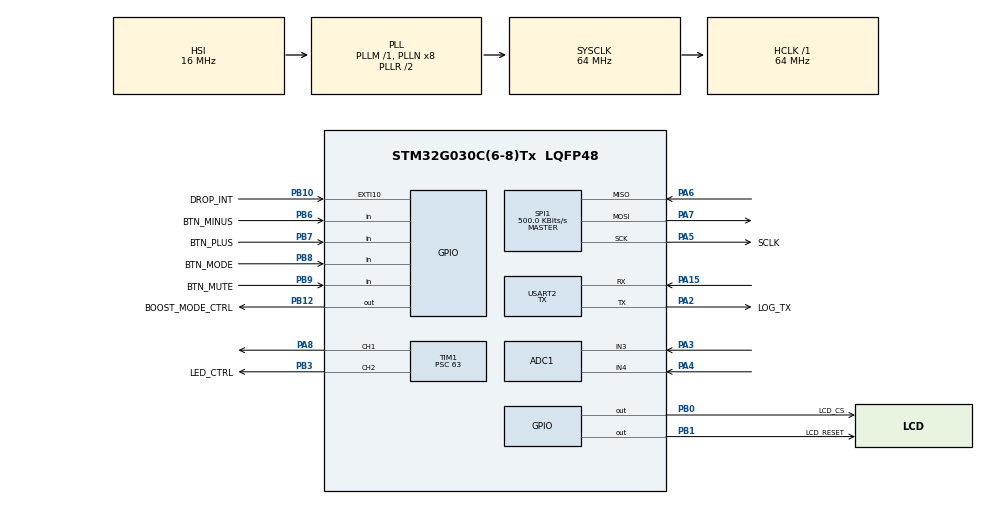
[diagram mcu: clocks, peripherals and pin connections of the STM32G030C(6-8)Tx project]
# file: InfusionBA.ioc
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ADC1.Channel-0\#ChannelRegularConversion=ADC_CHANNEL_4
ADC1.NbrOfConversionFlag=1
ADC1.Rank-0\#ChannelRegularConversion=1
ADC1.SamplingTime-0\#ChannelRegularConversion=ADC_SAMPLINGTIME_COMMON_1
ADC1.SelectedChannel=ADC_CHANNEL_3|ADC_CHANNEL_4
ADC1.master=1
Mcu.Family=STM32G0
Mcu.Name=STM32G030C(6-8)Tx
Mcu.Package=LQFP48
PA13.Mode=Serial_Wire
PA13.Signal=SYS_SWDIO
PA14-BOOT0.Mode=Serial_Wire
PA14-BOOT0.Signal=SYS_SWCLK
PA15.Mode=Asynchronous
PA15.Signal=USART2_RX
PA2.GPIO_Label=LOG_TX
PA2.GPIO_Speed=GPIO_SPEED_FREQ_VERY_HIGH
PA2.Mode=Asynchronous
PA2.Signal=USART2_TX
PA3.Mode=IN3
PA3.Signal=ADC1_IN3
PA4.Mode=IN4
PA4.Signal=ADC1_IN4
PA5.GPIO_Label=SCLK
PA5.GPIO_Speed=GPIO_SPEED_FREQ_HIGH
PA5.Mode=Full_Duplex_Master
PA5.Signal=SPI1_SCK
PA6.GPIO_Speed=GPIO_SPEED_FREQ_HIGH
PA6.Mode=Full_Duplex_Master
PA6.Signal=SPI1_MISO
PA7.GPIO_Speed=GPIO_SPEED_FREQ_HIGH
PA7.Mode=Full_Duplex_Master
PA7.Signal=SPI1_MOSI
PA8.Signal=S_TIM1_CH1
PB0.GPIO_Label=LCD_CS
PB0.PinState=GPIO_PIN_SET
PB0.Signal=GPIO_Output
PB1.GPIO_Label=LCD_RESET
PB1.PinState=GPIO_PIN_SET
PB1.Signal=GPIO_Output
PB10.GPIO_Label=DROP_INT
PB10.GPIO_ModeDefaultEXTI=GPIO_MODE_IT_FALLING
PB10.Signal=GPXTI10
PB12.GPIO_Label=BOOST_MODE_CTRL
PB12.GPIO_Speed=GPIO_SPEED_FREQ_MEDIUM
PB12.PinState=GPIO_PIN_SET
PB12.Signal=GPIO_Output
PB3.GPIO_Label=LED_CTRL
PB3.Signal=S_TIM1_CH2
PB6.GPIO_Label=BTN_MINUS
PB6.GPIO_PuPd=GPIO_PULLUP
PB6.Signal=GPIO_Input
PB7.GPIO_Label=BTN_PLUS
PB7.GPIO_PuPd=GPIO_PULLUP
PB7.Signal=GPIO_Input
PB8.GPIO_Label=BTN_MODE
PB8.GPIO_PuPd=GPIO_PULLUP
PB8.Signal=GPIO_Input
PB9.GPIO_Label=BTN_MUTE
PB9.GPIO_PuPd=GPIO_PULLUP
PB9.Signal=GPIO_Input
PC14-OSC32_IN\ (PC14).GPIO_Label=OSC32_IN
PC14-OSC32_IN\ (PC14).Mode=LSE-External-Oscillator
PC14-OSC32_IN\ (PC14).Signal=RCC_OSC32_IN
PC15-OSC32_OUT\ (PC15).GPIO_Label=OSC32_OUT
PC15-OSC32_OUT\ (PC15).Mode=LSE-External-Oscillator
PC15-OSC32_OUT\ (PC15).Signal=RCC_OSC32_OUT
ProjectManager.HeapSize=0x200
ProjectManager.StackSize=0x400
ProjectManager.TargetToolchain=STM32CubeIDE
RCC.ADCFreq_Value=64000000
RCC.AHBFreq_Value=64000000
RCC.CortexFreq_Value=64000000
RCC.EXTERNAL_CLOCK_VALUE=12288000
RCC.HCLKFreq_Value=64000000
RCC.HSE_VALUE=8000000
RCC.HSI_VALUE=16000000
RCC.SYSCLKFreq_VALUE=64000000
RCC.SYSCLKSource=RCC_SYSCLKSOURCE_PLLCLK
RCC.VCOOutputFreq_Value=128000000
SH.S_TIM1_CH1.0=TIM1_CH1,PWM Generation1 CH1
SH.S_TIM1_CH2.0=TIM1_CH2,PWM Generation2 CH2
SPI1.BaudRatePrescaler=SPI_BAUDRATEPRESCALER_128
SPI1.CLKPhase=SPI_PHASE_2EDGE
SPI1.CLKPolarity=SPI_POLARITY_HIGH
SPI1.CalculateBaudRate=500.0 KBits/s
SPI1.Direction=SPI_DIRECTION_2LINES
SPI1.FirstBit=SPI_FIRSTBIT_MSB
SPI1.Mode=SPI_MODE_MASTER
SPI1.VirtualType=VM_MASTER
TIM1.AutoReloadPreload=TIM_AUTORELOAD_PRELOAD_ENABLE
TIM1.Channel-PWM\ Generation1\ CH1=TIM_CHANNEL_1
TIM1.Channel-PWM\ Generation2\ CH2=TIM_CHANNEL_2
TIM1.Period=31
TIM1.Prescaler=63
TIM1.Pulse-PWM\ Generation1\ CH1=0
USART2.DMADisableonRxErrorParam=ADVFEATURE_DMA_DISABLEONRXERROR
USART2.Mode=MODE_TX
USART2.OverrunDisableParam=ADVFEATURE_OVERRUN_DISABLE
USART2.VirtualMode-Asynchronous=VM_ASYNC
VP_RTC_VS_RTC_Activate.Mode=RTC_Enabled
board=custom

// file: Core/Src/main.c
/* USER CODE BEGIN Header */
/**
  ******************************************************************************
  * @file           : main.c
  * @brief          : Main program body
  ******************************************************************************
  * @attention
  *
  * Copyright (c) 2025 STMicroelectronics.
  * All rights reserved.
  *
  * This software is licensed under terms that can be found in the LICENSE file
  * in the root directory of this software component.
  * If no LICENSE file comes with this software, it is provided AS-IS.
  *
  ******************************************************************************
  */
/* USER CODE END Header */
#include "main.h"

/* USER CODE BEGIN Includes */
#include <stdio.h>
#include <string.h>
#include <stddef.h>       // for size_t
#include <stdint.h>
#include "lcd.h"
#include "buzzer.h"
#include "ui.h"
#include "alarm.h"

/* USER CODE END Includes */

/* USER CODE BEGIN PD */
#define VREFINT_CAL (*(uint16_t*)0x1FFF75AA)  // Factory-calibrated ADC value for VREFINT at 3.0 V
#define VREFINT_MV 3000  // Calibration is done at 3.00 V

/* USER CODE END PD */

ADC_HandleTypeDef hadc1;

RTC_HandleTypeDef hrtc;

SPI_HandleTypeDef hspi1;

TIM_HandleTypeDef htim1;

UART_HandleTypeDef huart2;

/* USER CODE BEGIN PV */
#define DRIP_FACTOR_GTT_PER_ML   20      // 20 gtt ≈ 1 mL -- change for your set
#define FLOW_AVG_WINDOW          5      // keep last 30 drops for moving-avg

volatile uint32_t drop_count           = 0;          // running tally
volatile uint32_t last_drop_ms         = 0;          // HAL_GetTick timestamp
volatile uint32_t dt_ms                = 0;          // time between last 2 drops
volatile float    inst_flow_mlh        = 0.0f;       // mL/h from single dt
volatile float    flow_window[FLOW_AVG_WINDOW] = {0};
volatile uint8_t  flow_idx             = 0;          // circular buffer index
volatile float    flow_avg_mlh         = 0.0f;       // moving average flow
volatile float    total_volume_ml      = 0.0f;       // drops ÷ drip-factor
volatile uint16_t target_rate_mlh = 100; // Default: 100 mL/h
volatile float    flow_mlh            = 0.0f;       // current flow in mL/h

/* USER CODE END PV */

void SystemClock_Config(void);
static void MX_GPIO_Init(void);
static void MX_ADC1_Init(void);
static void MX_RTC_Init(void);
static void MX_TIM1_Init(void);
static void MX_USART2_UART_Init(void);
static void MX_SPI1_Init(void);
/* USER CODE BEGIN PFP */
uint32_t  Read_Battery_mV(void);
uint32_t Read_VDDA_mV(void);
uint8_t Battery_mV_to_percent(uint32_t mv);

void Monitor_ADC_Drop_Spikes();
void HandleModeButton(void);
void HandleTargetAdjustment(void);
void HandleMuteButton(void);

/* USER CODE END PFP */

/* USER CODE BEGIN 0 */

static float MovingAvg_Add(float new_val)
{
    flow_window[flow_idx] = new_val;
    flow_idx = (flow_idx + 1) % FLOW_AVG_WINDOW;

    /* Re-compute running mean (cheap for only 30 samples) */
    float sum = 0.0f;
    for (uint8_t i = 0; i < FLOW_AVG_WINDOW; ++i) sum += flow_window[i];
    return sum / FLOW_AVG_WINDOW;
}

/* USER CODE END 0 */

int main(void)
{

  /* MCU Configuration--------------------------------------------------------*/

  /* Reset of all peripherals, Initializes the Flash interface and the Systick. */
  HAL_Init();

  /* Configure the system clock */
  SystemClock_Config();

  /* Initialize all configured peripherals */
  MX_GPIO_Init();
  MX_ADC1_Init();
  MX_RTC_Init();
  MX_TIM1_Init();
  MX_USART2_UART_Init();
  MX_SPI1_Init();
  /* USER CODE BEGIN 2 */
  setvbuf(stdout, NULL, _IONBF, 0);
  // After MX_TIM1_Init()
  HAL_TIM_PWM_Start(&htim1, TIM_CHANNEL_1);
  HAL_GPIO_WritePin(GPIOB, GPIO_PIN_12, GPIO_PIN_SET); //Boost Mode ON
  HAL_GPIO_WritePin(GPIOB, GPIO_PIN_3, GPIO_PIN_SET);  // drive gate high → IR LED on

   //Startup Sweep
   for (int freq = 3000; freq <= 4000; freq += 500) {
       Buzzer_PlayFreq(freq, 30);
       HAL_Delay(20);
   }

   printf("BEGIN LCD INITIALIZATION\r\n");
   LCD_Init();
   printf("FINISHED LCD INITIALIZATION\r\n");

   LCD_Clear();
   LCD_SplashScreen();
   HAL_Delay(1500);
   LCD_Clear();

/*
   for (uint16_t cmd = 0x00; cmd <= 0xFF; cmd++)
   	  {
   		  printf("Sending command: 0x%02X\r\n", cmd);
   		  LCD_WriteCmd((uint8_t)cmd);
   		  HAL_Delay(1);
   	  }*/

  /* USER CODE END 2 */

  /* Infinite loop */
  /* USER CODE BEGIN WHILE */
  while (1)
  {
          HandleTargetAdjustment();
          HandleModeButton();
          HandleMuteButton();
          ui_task();
          alarm_task();
          Monitor_ADC_Drop_Spikes();

    /* USER CODE END WHILE */

  }
}

void SystemClock_Config(void)
{
  RCC_OscInitTypeDef RCC_OscInitStruct = {0};
  RCC_ClkInitTypeDef RCC_ClkInitStruct = {0};
  RCC_PeriphCLKInitTypeDef PeriphClkInit = {0};

  /** Configure the main internal regulator output voltage
  */
  __HAL_RCC_PWR_CLK_ENABLE();
  HAL_PWREx_ControlVoltageScaling(PWR_REGULATOR_VOLTAGE_SCALE1);
  HAL_PWR_EnableBkUpAccess();
  __HAL_RCC_LSEDRIVE_CONFIG(RCC_LSEDRIVE_LOW);

  /** Initializes the RCC Oscillators according to the specified parameters
  * in the RCC_OscInitTypeDef structure.
*/
  RCC_OscInitStruct.OscillatorType = RCC_OSCILLATORTYPE_HSI|RCC_OSCILLATORTYPE_LSI;
  RCC_OscInitStruct.HSIState = RCC_HSI_ON;
  RCC_OscInitStruct.HSIDiv = RCC_HSI_DIV1;
  RCC_OscInitStruct.HSICalibrationValue = RCC_HSICALIBRATION_DEFAULT;
  RCC_OscInitStruct.LSIState = RCC_LSI_ON;
  RCC_OscInitStruct.PLL.PLLState = RCC_PLL_ON;
  RCC_OscInitStruct.PLL.PLLSource = RCC_PLLSOURCE_HSI;
  RCC_OscInitStruct.PLL.PLLM = RCC_PLLM_DIV1;
  RCC_OscInitStruct.PLL.PLLN = 8;
  RCC_OscInitStruct.PLL.PLLP = RCC_PLLP_DIV2;
  RCC_OscInitStruct.PLL.PLLR = RCC_PLLR_DIV2;
  if (HAL_RCC_OscConfig(&RCC_OscInitStruct) != HAL_OK)
  {
    Error_Handler();
  }

  /** Configure RTC clock source */
  PeriphClkInit.PeriphClockSelection = RCC_PERIPHCLK_RTC;
  PeriphClkInit.RTCClockSelection = RCC_RTCCLKSOURCE_LSE;
  if (HAL_RCCEx_PeriphCLKConfig(&PeriphClkInit) != HAL_OK)
  {
    Error_Handler();
  }

  /** Initializes the CPU, AHB and APB buses clocks
  */
  RCC_ClkInitStruct.ClockType = RCC_CLOCKTYPE_HCLK|RCC_CLOCKTYPE_SYSCLK
                              |RCC_CLOCKTYPE_PCLK1;
  RCC_ClkInitStruct.SYSCLKSource = RCC_SYSCLKSOURCE_PLLCLK;
  RCC_ClkInitStruct.AHBCLKDivider = RCC_SYSCLK_DIV1;
  RCC_ClkInitStruct.APB1CLKDivider = RCC_HCLK_DIV1;

  if (HAL_RCC_ClockConfig(&RCC_ClkInitStruct, FLASH_LATENCY_2) != HAL_OK)
  {
    Error_Handler();
  }
}

static void MX_ADC1_Init(void)
{

  ADC_ChannelConfTypeDef sConfig = {0};

  /** Configure the global features of the ADC (Clock, Resolution, Data Alignment and number of conversion)
  */
  hadc1.Instance = ADC1;
  hadc1.Init.ClockPrescaler = ADC_CLOCK_SYNC_PCLK_DIV2;
  hadc1.Init.Resolution = ADC_RESOLUTION_12B;
  hadc1.Init.DataAlign = ADC_DATAALIGN_RIGHT;
  hadc1.Init.ScanConvMode = ADC_SCAN_DISABLE;
  hadc1.Init.EOCSelection = ADC_EOC_SINGLE_CONV;
  hadc1.Init.LowPowerAutoWait = DISABLE;
  hadc1.Init.LowPowerAutoPowerOff = DISABLE;
  hadc1.Init.ContinuousConvMode = DISABLE;
  hadc1.Init.NbrOfConversion = 1;
  hadc1.Init.DiscontinuousConvMode = DISABLE;
  hadc1.Init.ExternalTrigConv = ADC_SOFTWARE_START;
  hadc1.Init.ExternalTrigConvEdge = ADC_EXTERNALTRIGCONVEDGE_NONE;
  hadc1.Init.DMAContinuousRequests = DISABLE;
  hadc1.Init.Overrun = ADC_OVR_DATA_PRESERVED;
  hadc1.Init.SamplingTimeCommon1 = ADC_SAMPLETIME_1CYCLE_5;
  hadc1.Init.SamplingTimeCommon2 = ADC_SAMPLETIME_1CYCLE_5;
  hadc1.Init.OversamplingMode = DISABLE;
  hadc1.Init.TriggerFrequencyMode = ADC_TRIGGER_FREQ_HIGH;
  if (HAL_ADC_Init(&hadc1) != HAL_OK)
  {
    Error_Handler();
  }

  /** Configure Regular Channel
  */
  sConfig.Channel = ADC_CHANNEL_4;
  sConfig.Rank = ADC_REGULAR_RANK_1;
  sConfig.SamplingTime = ADC_SAMPLINGTIME_COMMON_1;
  if (HAL_ADC_ConfigChannel(&hadc1, &sConfig) != HAL_OK)
  {
    Error_Handler();
  }

}

static void MX_RTC_Init(void)
{

  /** Initialize RTC Only
  */
  hrtc.Instance = RTC;
  hrtc.Init.HourFormat = RTC_HOURFORMAT_24;
  hrtc.Init.AsynchPrediv = 127;
  hrtc.Init.SynchPrediv = 255;
  hrtc.Init.OutPut = RTC_OUTPUT_DISABLE;
  hrtc.Init.OutPutRemap = RTC_OUTPUT_REMAP_NONE;
  hrtc.Init.OutPutPolarity = RTC_OUTPUT_POLARITY_HIGH;
  hrtc.Init.OutPutType = RTC_OUTPUT_TYPE_OPENDRAIN;
  hrtc.Init.OutPutPullUp = RTC_OUTPUT_PULLUP_NONE;
  if (HAL_RTC_Init(&hrtc) != HAL_OK)
  {
    Error_Handler();
  }

}

static void MX_SPI1_Init(void)
{

  /* SPI1 parameter configuration*/
  hspi1.Instance = SPI1;
  hspi1.Init.Mode = SPI_MODE_MASTER;
  hspi1.Init.Direction = SPI_DIRECTION_2LINES;
  hspi1.Init.DataSize = SPI_DATASIZE_8BIT;
  hspi1.Init.CLKPolarity = SPI_POLARITY_HIGH;
  hspi1.Init.CLKPhase = SPI_PHASE_2EDGE;
  hspi1.Init.NSS = SPI_NSS_SOFT;
  hspi1.Init.BaudRatePrescaler = SPI_BAUDRATEPRESCALER_128;
  hspi1.Init.FirstBit = SPI_FIRSTBIT_MSB;
  hspi1.Init.TIMode = SPI_TIMODE_DISABLE;
  hspi1.Init.CRCCalculation = SPI_CRCCALCULATION_DISABLE;
  hspi1.Init.CRCPolynomial = 7;
  hspi1.Init.CRCLength = SPI_CRC_LENGTH_DATASIZE;
  hspi1.Init.NSSPMode = SPI_NSS_PULSE_DISABLE;
  if (HAL_SPI_Init(&hspi1) != HAL_OK)
  {
    Error_Handler();
  }

}

static void MX_TIM1_Init(void)
{

  TIM_MasterConfigTypeDef sMasterConfig = {0};
  TIM_OC_InitTypeDef sConfigOC = {0};
  TIM_BreakDeadTimeConfigTypeDef sBreakDeadTimeConfig = {0};

  htim1.Instance = TIM1;
  htim1.Init.Prescaler = 63;
  htim1.Init.CounterMode = TIM_COUNTERMODE_UP;
  htim1.Init.Period = 31;
  htim1.Init.ClockDivision = TIM_CLOCKDIVISION_DIV1;
  htim1.Init.RepetitionCounter = 0;
  htim1.Init.AutoReloadPreload = TIM_AUTORELOAD_PRELOAD_ENABLE;
  if (HAL_TIM_PWM_Init(&htim1) != HAL_OK)
  {
    Error_Handler();
  }
  sMasterConfig.MasterOutputTrigger = TIM_TRGO_RESET;
  sMasterConfig.MasterOutputTrigger2 = TIM_TRGO2_RESET;
  sMasterConfig.MasterSlaveMode = TIM_MASTERSLAVEMODE_DISABLE;
  if (HAL_TIMEx_MasterConfigSynchronization(&htim1, &sMasterConfig) != HAL_OK)
  {
    Error_Handler();
  }
  sConfigOC.OCMode = TIM_OCMODE_PWM1;
  sConfigOC.Pulse = 0;
  sConfigOC.OCPolarity = TIM_OCPOLARITY_HIGH;
  sConfigOC.OCNPolarity = TIM_OCNPOLARITY_HIGH;
  sConfigOC.OCFastMode = TIM_OCFAST_DISABLE;
  sConfigOC.OCIdleState = TIM_OCIDLESTATE_RESET;
  sConfigOC.OCNIdleState = TIM_OCNIDLESTATE_RESET;
  if (HAL_TIM_PWM_ConfigChannel(&htim1, &sConfigOC, TIM_CHANNEL_1) != HAL_OK)
  {
    Error_Handler();
  }
  if (HAL_TIM_PWM_ConfigChannel(&htim1, &sConfigOC, TIM_CHANNEL_2) != HAL_OK)
  {
    Error_Handler();
  }
  sBreakDeadTimeConfig.OffStateRunMode = TIM_OSSR_DISABLE;
  sBreakDeadTimeConfig.OffStateIDLEMode = TIM_OSSI_DISABLE;
  sBreakDeadTimeConfig.LockLevel = TIM_LOCKLEVEL_OFF;
  sBreakDeadTimeConfig.DeadTime = 0;
  sBreakDeadTimeConfig.BreakState = TIM_BREAK_DISABLE;
  sBreakDeadTimeConfig.BreakPolarity = TIM_BREAKPOLARITY_HIGH;
  sBreakDeadTimeConfig.BreakFilter = 0;
  sBreakDeadTimeConfig.BreakAFMode = TIM_BREAK_AFMODE_INPUT;
  sBreakDeadTimeConfig.Break2State = TIM_BREAK2_DISABLE;
  sBreakDeadTimeConfig.Break2Polarity = TIM_BREAK2POLARITY_HIGH;
  sBreakDeadTimeConfig.Break2Filter = 0;
  sBreakDeadTimeConfig.Break2AFMode = TIM_BREAK_AFMODE_INPUT;
  sBreakDeadTimeConfig.AutomaticOutput = TIM_AUTOMATICOUTPUT_DISABLE;
  if (HAL_TIMEx_ConfigBreakDeadTime(&htim1, &sBreakDeadTimeConfig) != HAL_OK)
  {
    Error_Handler();
  }
  HAL_TIM_MspPostInit(&htim1);

}

static void MX_USART2_UART_Init(void)
{

  huart2.Instance = USART2;
  huart2.Init.BaudRate = 115200;
  huart2.Init.WordLength = UART_WORDLENGTH_8B;
  huart2.Init.StopBits = UART_STOPBITS_1;
  huart2.Init.Parity = UART_PARITY_NONE;
  huart2.Init.Mode = UART_MODE_TX;
  huart2.Init.HwFlowCtl = UART_HWCONTROL_NONE;
  huart2.Init.OverSampling = UART_OVERSAMPLING_16;
  huart2.Init.OneBitSampling = UART_ONE_BIT_SAMPLE_DISABLE;
  huart2.Init.ClockPrescaler = UART_PRESCALER_DIV1;
  huart2.AdvancedInit.AdvFeatureInit = UART_ADVFEATURE_RXOVERRUNDISABLE_INIT|UART_ADVFEATURE_DMADISABLEONERROR_INIT;
  huart2.AdvancedInit.OverrunDisable = UART_ADVFEATURE_OVERRUN_DISABLE;
  huart2.AdvancedInit.DMADisableonRxError = UART_ADVFEATURE_DMA_DISABLEONRXERROR;
  if (HAL_UART_Init(&huart2) != HAL_OK)
  {
    Error_Handler();
  }

}

static void MX_GPIO_Init(void)
{
  GPIO_InitTypeDef GPIO_InitStruct = {0};
  /* USER CODE BEGIN MX_GPIO_Init_1 */
  /* --- DOGS164 control lines: PB0 = /CS, PB1 = /RST, PB14 = A0 --- */
  GPIO_InitStruct.Pin   = LCD_CS_Pin | LCD_RESET_Pin | GPIO_PIN_14;
  GPIO_InitStruct.Mode  = GPIO_MODE_OUTPUT_PP;
  GPIO_InitStruct.Pull  = GPIO_NOPULL;
  GPIO_InitStruct.Speed = GPIO_SPEED_FREQ_LOW;
  HAL_GPIO_Init(GPIOB, &GPIO_InitStruct);

  /* Initial idle levels */
  HAL_GPIO_WritePin(LCD_CS_GPIO_Port,  LCD_CS_Pin,  GPIO_PIN_SET);   // /CS high (inactive)
  HAL_GPIO_WritePin(LCD_RESET_GPIO_Port, LCD_RESET_Pin, GPIO_PIN_SET);   // RST high (normal operation)
  HAL_GPIO_WritePin(GPIOB, GPIO_PIN_14, GPIO_PIN_RESET);     // A0 low (command)

  /* USER CODE END MX_GPIO_Init_1 */

  /* GPIO Ports Clock Enable */
  __HAL_RCC_GPIOC_CLK_ENABLE();
  __HAL_RCC_GPIOA_CLK_ENABLE();
  __HAL_RCC_GPIOB_CLK_ENABLE();

  /*Configure GPIO pin Output Level */
  HAL_GPIO_WritePin(GPIOB, LCD_CS_Pin|LCD_RESET_Pin|BOOST_MODE_CTRL_Pin, GPIO_PIN_SET);

  /*Configure GPIO pins : LCD_CS_Pin LCD_RESET_Pin */
  GPIO_InitStruct.Pin = LCD_CS_Pin|LCD_RESET_Pin;
  GPIO_InitStruct.Mode = GPIO_MODE_OUTPUT_PP;
  GPIO_InitStruct.Pull = GPIO_NOPULL;
  GPIO_InitStruct.Speed = GPIO_SPEED_FREQ_LOW;
  HAL_GPIO_Init(GPIOB, &GPIO_InitStruct);

  /*Configure GPIO pin : DROP_INT_Pin */
  GPIO_InitStruct.Pin = DROP_INT_Pin;
  GPIO_InitStruct.Mode = GPIO_MODE_IT_FALLING;
  GPIO_InitStruct.Pull = GPIO_NOPULL;
  HAL_GPIO_Init(DROP_INT_GPIO_Port, &GPIO_InitStruct);

  /*Configure GPIO pin : BOOST_MODE_CTRL_Pin */
  GPIO_InitStruct.Pin = BOOST_MODE_CTRL_Pin;
  GPIO_InitStruct.Mode = GPIO_MODE_OUTPUT_PP;
  GPIO_InitStruct.Pull = GPIO_NOPULL;
  GPIO_InitStruct.Speed = GPIO_SPEED_FREQ_MEDIUM;
  HAL_GPIO_Init(BOOST_MODE_CTRL_GPIO_Port, &GPIO_InitStruct);

  /*Configure GPIO pins : BTN_MINUS_Pin BTN_PLUS_Pin BTN_MODE_Pin BTN_MUTE_Pin */
  GPIO_InitStruct.Pin = BTN_MINUS_Pin|BTN_PLUS_Pin|BTN_MODE_Pin|BTN_MUTE_Pin;
  GPIO_InitStruct.Mode = GPIO_MODE_INPUT;
  GPIO_InitStruct.Pull = GPIO_PULLUP;
  HAL_GPIO_Init(GPIOB, &GPIO_InitStruct);

  /* USER CODE BEGIN MX_GPIO_Init_2 */
  GPIO_InitStruct.Pin = GPIO_PIN_6;
  GPIO_InitStruct.Mode = GPIO_MODE_OUTPUT_PP;
  GPIO_InitStruct.Pull = GPIO_NOPULL;
  GPIO_InitStruct.Speed = GPIO_SPEED_FREQ_LOW;
  HAL_GPIO_Init(GPIOA, &GPIO_InitStruct);

  HAL_GPIO_WritePin(GPIOA, GPIO_PIN_6, GPIO_PIN_SET); // Default to DATA mode

  /* USER CODE END MX_GPIO_Init_2 */
}

/* USER CODE BEGIN 4 */
uint8_t Battery_mV_to_percent(uint32_t mv)
{
    if (mv <= 700)  return 0;
    if (mv >= 1500) return 100;

    if (mv < 1100) {
        return (uint8_t)((mv - 700) * 25 / 400);
    } else if (mv < 1250) {
        return 25 + (uint8_t)((mv - 1100) * 35 / 150);
    } else if (mv < 1350) {
        return 60 + (uint8_t)((mv - 1250) * 25 / 100);
    } else {
        return 85 + (uint8_t)((mv - 1350) * 15 / 150);
    }
}

/* USER CODE END BatteryPct */

void Monitor_ADC_Drop_Spikes(void)
{
    const float spike_threshold_mV = 1700.0f;   // Voltage threshold for spike detection
    static float previous_voltage_mv = 0.0f;    // Store previous measurement
    const uint32_t sampling_interval_ms = 1;   // 100 Hz sampling rate (adjust as needed)

    // Read VDDA voltage once per iteration
    uint32_t vdda_mv = Read_VDDA_mV();

    // Configure ADC Channel for PD_ADC (PA3)
    ADC_ChannelConfTypeDef adcConfig = {0};
    adcConfig.Channel = ADC_CHANNEL_3;
    adcConfig.Rank = ADC_REGULAR_RANK_1;
    adcConfig.SamplingTime = ADC_SAMPLINGTIME_COMMON_1;
    HAL_ADC_ConfigChannel(&hadc1, &adcConfig);

    // Start ADC Conversion
    HAL_ADC_Start(&hadc1);
    HAL_ADC_PollForConversion(&hadc1, HAL_MAX_DELAY);
    uint32_t adc_raw = HAL_ADC_GetValue(&hadc1);
    HAL_ADC_Stop(&hadc1);

    // Calculate voltage in mV
    float voltage_mv = ((float)adc_raw * vdda_mv) / 4095.0f;

    // Print debug information
    //printf("ADC raw: %lu, Voltage: %.2f mV, VDDA: %lu mV, Previous: %.2f mV\r\n",
    //       adc_raw, voltage_mv, vdda_mv, previous_voltage_mv);

    // Spike Detection Logic
    if ((voltage_mv > spike_threshold_mV) && (previous_voltage_mv <= spike_threshold_mV))
    {
        /* ----------  DROP DETECTED  ---------- */
        uint32_t now = HAL_GetTick();            // ms since boot

        /* First drop has no dt */
        if (drop_count > 0)
        {
            dt_ms = now - last_drop_ms;
            /* convert dt to instantaneous flow: 3600 s/h × 1000 ms/s */
            inst_flow_mlh = (3600.0f * 1000.0f) / ((float)dt_ms * DRIP_FACTOR_GTT_PER_ML);
            flow_mlh  = MovingAvg_Add(inst_flow_mlh);
        }
        last_drop_ms = now;
        drop_count++;

        total_volume_ml = (float)drop_count / DRIP_FACTOR_GTT_PER_ML;

        /* Time since power-up */
        uint32_t elapsed_ms = now;                       // HAL_GetTick base = boot
        uint32_t elapsed_s  = elapsed_ms / 1000;

        /* -------------------------------------------------------------- */
        /*  DROP DETECTED  — single-line logger                           */
        /* -------------------------------------------------------------- */
        printf("DROP %lu | Δt: %lums | Rate: %.0f mL/h | Total: %.2f mL | Time: %lu:%02lu min\r\n",
               drop_count,
               dt_ms,
               inst_flow_mlh,
               total_volume_ml,
               elapsed_s / 60,
               elapsed_s % 60);
    }

    char flow_str[17];  // 16 chars + null terminator
    snprintf(flow_str, sizeof(flow_str), "Rate: %4.0f mL/h", inst_flow_mlh);
    //LCD_Print(3, flow_str);  // Show on line 1 (second line)

    // Store current measurement as previous for next iteration
    previous_voltage_mv = voltage_mv;

    // Delay before next sampling
    HAL_Delay(sampling_interval_ms);
}

uint32_t Read_VDDA_mV(void)
{
    ADC_ChannelConfTypeDef sConfig = {0};
    sConfig.Channel = ADC_CHANNEL_VREFINT;
    sConfig.Rank = ADC_REGULAR_RANK_1;
    sConfig.SamplingTime = ADC_SAMPLETIME_19CYCLES_5;
    HAL_ADC_ConfigChannel(&hadc1, &sConfig);

    HAL_ADC_Start(&hadc1);
    HAL_ADC_PollForConversion(&hadc1, HAL_MAX_DELAY);
    uint32_t vrefint_adc = HAL_ADC_GetValue(&hadc1);
    HAL_ADC_Stop(&hadc1);

    // VDDA (real) = 3.000 V × (VREFINT_CAL / measured VREFINT)
    return (VREFINT_CAL * VREFINT_MV) / vrefint_adc;  // in millivolts
}
uint32_t Read_Battery_mV(void)
{
    uint32_t vdda_mv = Read_VDDA_mV();

    ADC_ChannelConfTypeDef sConfig = {0};
    sConfig.Channel = ADC_CHANNEL_4;  // PA4
    sConfig.Rank = ADC_REGULAR_RANK_1;
    sConfig.SamplingTime = ADC_SAMPLETIME_19CYCLES_5;
    HAL_ADC_ConfigChannel(&hadc1, &sConfig);

    HAL_ADC_Start(&hadc1);
    HAL_ADC_PollForConversion(&hadc1, HAL_MAX_DELAY);
    uint32_t adc_val = HAL_ADC_GetValue(&hadc1);
    HAL_ADC_Stop(&hadc1);

    return (adc_val * vdda_mv) / 4095;  // Battery voltage at PA4 in mV
}

/* ---------- +/- buttons adjust target flow ----------------------------- */
void HandleTargetAdjustment(void)
{
    static uint8_t lastPlus  = GPIO_PIN_SET;
    static uint8_t lastMinus = GPIO_PIN_SET;
    static uint32_t plusHeldMs  = 0;
    static uint32_t minusHeldMs = 0;
    const uint32_t repeatMs = 400;

    uint32_t now = HAL_GetTick();
    uint8_t nowPlus  = HAL_GPIO_ReadPin(BTN_PLUS_GPIO_Port,  BTN_PLUS_Pin);
    uint8_t nowMinus = HAL_GPIO_ReadPin(BTN_MINUS_GPIO_Port, BTN_MINUS_Pin);

    /* handle PLUS button */
    if (nowPlus == GPIO_PIN_RESET) {
        if (lastPlus == GPIO_PIN_SET || (now - plusHeldMs) >= repeatMs) {
        	Buzzer_PlayFreq(4000, 10);
            if (target_rate_mlh < 999 && plusHeldMs < repeatMs) {
                target_rate_mlh++;
            }
            if (target_rate_mlh < 999 && plusHeldMs >= repeatMs) {
            	target_rate_mlh = ((target_rate_mlh / 5) + 1) * 5;
            }
            plusHeldMs = now;
        }
    } else {
        plusHeldMs = 0; /* reset when released */
    }

    /* handle MINUS button */
    if (nowMinus == GPIO_PIN_RESET) {
        if (lastMinus == GPIO_PIN_SET || (now - minusHeldMs) >= repeatMs) {
            Buzzer_PlayFreq(3800, 10);
            if (target_rate_mlh > 0 && minusHeldMs < repeatMs) {
                target_rate_mlh--;
            }
            if (target_rate_mlh > 0 && minusHeldMs >= repeatMs) {
                target_rate_mlh = ((target_rate_mlh - 1) / 5) * 5;
            }
            minusHeldMs = now;
        }
    } else {
        minusHeldMs = 0; /* reset when released */
    }

    lastPlus  = nowPlus;
    lastMinus = nowMinus;
}

/* ---------- MODE-button handler --------------------------------------- */
void HandleModeButton(void)
{
    static uint8_t lastBtnMode = GPIO_PIN_SET;      // unpressed
    uint8_t nowMode = HAL_GPIO_ReadPin(GPIOB, BTN_MODE_Pin);

    if (nowMode == GPIO_PIN_RESET && lastBtnMode == GPIO_PIN_SET)
    {
        ui_on_button(BTN_MODE, false);
        Buzzer_PlayFreq(3000, 30);    // audible feedback
        HAL_Delay(200);               // debounce
    }

    lastBtnMode = nowMode;
}

/* ---------- MUTE-button handler --------------------------------------- */
void HandleMuteButton(void)
{
    static uint8_t lastMute = GPIO_PIN_SET;
    uint8_t nowMute = HAL_GPIO_ReadPin(BTN_MUTE_GPIO_Port, BTN_MUTE_Pin);

    if (nowMute == GPIO_PIN_RESET && lastMute == GPIO_PIN_SET) {
        ui_on_button(BTN_MUTE, false);
        HAL_Delay(200);
    }

    lastMute = nowMute;
}

/* USER CODE END 4 */

void Error_Handler(void)
{
  /* USER CODE BEGIN Error_Handler_Debug */
  /* User can add his own implementation to report the HAL error return state */
  __disable_irq();
  while (1)
  {
	  //Monitor_ADC_Drop_Spikes();
  }
  /* USER CODE END Error_Handler_Debug */
}
